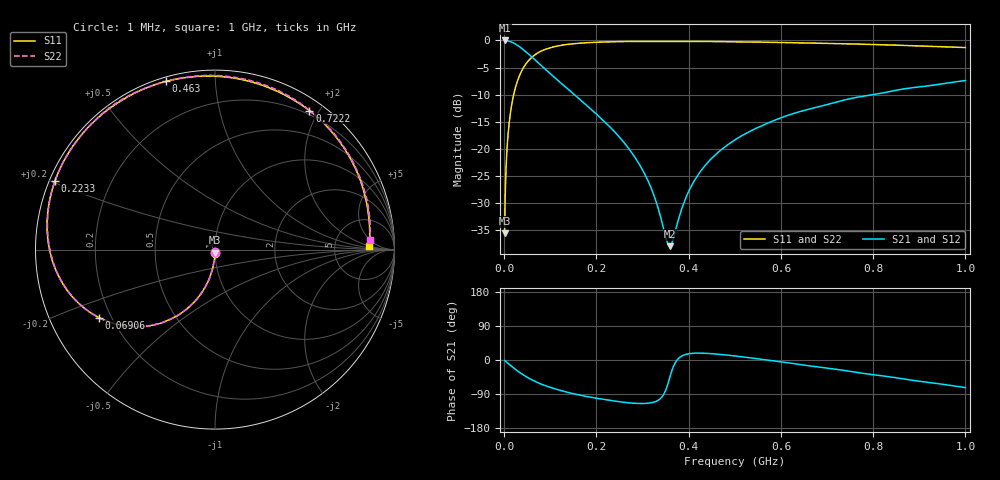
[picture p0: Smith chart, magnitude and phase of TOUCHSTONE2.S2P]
!Agilent Technologies,E5071C,MY46104870,A.11.22
!Date: Sun Jan 01 01:41:03 2017
!Data & Calibration Information:
!Freq	S11:SOLT2(ON)	S21:SOLT2(ON)	S12:SOLT2(ON)	S22:SOLT2(ON)
!PortZ  Port1:50+j0  Port2:50+j0
!Above PortZ is port z conversion or system Z0 setting when saving the data.
!When reading, reference impedance value at option line is always used.
# Hz S dB R 50
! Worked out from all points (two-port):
!   1601 points, 1 MHz to 1 GHz, reference 50 ohm
!   highest |S21| = 0.00 dB at 2.249 MHz (marker M1); lowest = -38.0 dB at 358.8 MHz (marker M2)
!   |S21| within 3 dB of the highest: start of sweep to 59.43 MHz
!   lowest |S11| = -35.6 dB at 1 MHz (marker M3), VSWR 1.03, Z = 49.9 - j1.66 ohm
!   |S11| at or under -10 dB: start of sweep to 20.68 MHz
!   |S22| runs from -36.2 to -0.1 dB; largest |S21 - S12| = 0.0077
!   S11 on the Smith chart (normalised r, x): 1 MHz: 1.00, -0.03; 69.06 MHz: 0.15, -0.27; 223.3 MHz: 0.02, +0.20; 463 MHz: 0.02, +0.75; 722.2 MHz: 0.15, +1.88; 1 GHz: 13, +2
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1000000  -35.60 -91.6  -0.00 -1.1  0.00 -1.0  -36.22 -90.6
2248750  -28.80 -90.2  0.00 -2.4  -0.01 -2.4  -28.88 -91.2
6619375  -19.50 -97.2  -0.06 -7.0  -0.05 -6.9  -19.50 -97.1
9116875  -16.77 -99.7  -0.10 -9.6  -0.10 -9.6  -16.76 -99.9
1.411188e7  -13.09 -105.0  -0.23 -14.7  -0.23 -14.7  -13.09 -105.0
2.035562e7  -10.12 -111.4  -0.46 -20.8  -0.46 -20.8  -10.12 -111.5
4.220875e7  -4.97 -131.1  -1.73 -39.9  -1.72 -39.9  -4.96 -131.1
6.905688e7  -2.51 -149.6  -3.74 -57.6  -3.72 -57.6  -2.51 -149.5
1.115144e8  -1.09 -169.9  -7.00 -76.7  -6.98 -76.6  -1.11 -169.9
1.677081e8  -0.48 171.4  -11.16 -93.6  -11.14 -93.5  -0.49 170.7
2.232775e8  -0.26 156.8  -15.46 -105.5  -15.51 -105.4  -0.26 156.4
2.938319e8  -0.17 140.8  -23.00 -114.7  -22.97 -114.6  -0.19 140.3
3.344162e8  -0.16 132.2  -31.12 -105.6  -31.12 -106.1  -0.15 131.5
3.512744e8  -0.16 128.7  -36.67 -76.6  -36.70 -77.0  -0.14 128.0
3.587669e8  -0.16 127.2  -38.00 -48.0  -38.00 -47.8  -0.14 126.5
4.05595e8  -0.18 117.7  -26.93 17.3  -26.91 17.4  -0.16 117.1
4.630375e8  -0.20 106.3  -20.73 15.4  -20.75 15.1  -0.21 105.5
5.005e8  -0.25 99.0  -18.37 10.6  -18.38 10.6  -0.24 98.3
6.672081e8  -0.49 66.6  -12.56 -16.2  -12.48 -16.0  -0.43 66.4
7.221531e8  -0.58 55.8  -11.35 -24.8  -11.29 -25.4  -0.55 56.2
8.339162e8  -0.82 34.0  -9.47 -44.0  -9.54 -44.1  -0.78 35.0
1e9  -1.31 1.5  -7.41 -73.0  -7.35 -73.0  -1.25 3.6
